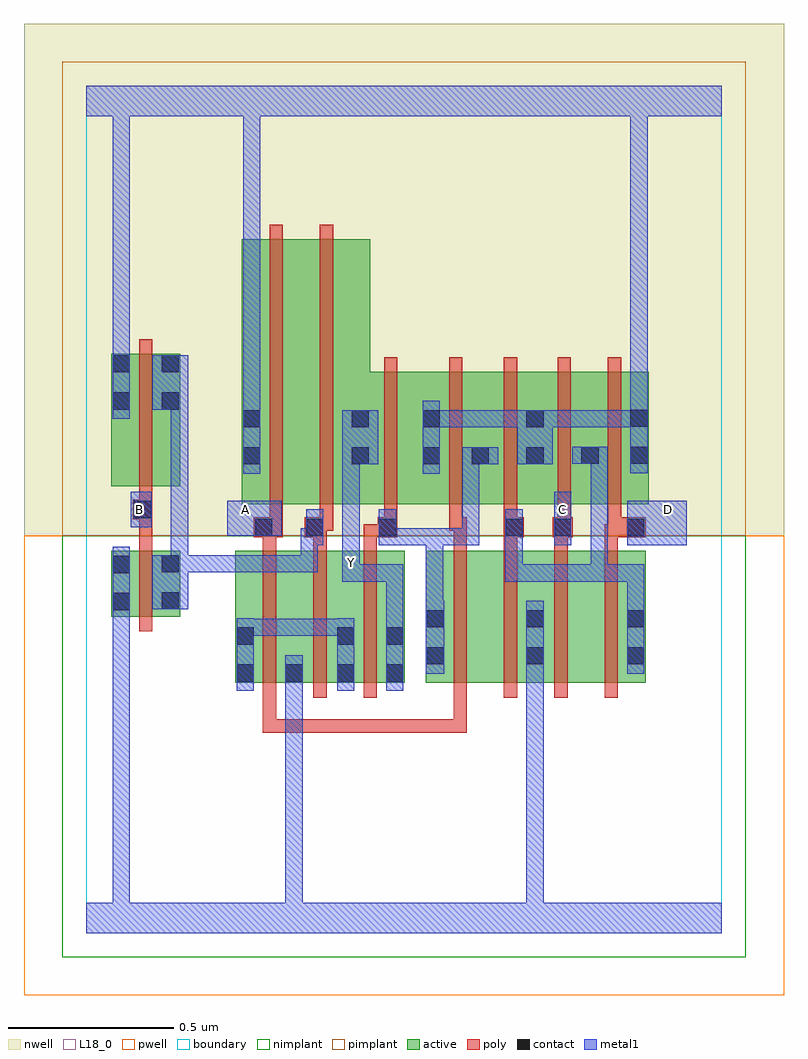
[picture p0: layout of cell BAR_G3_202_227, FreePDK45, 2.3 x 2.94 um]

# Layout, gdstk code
import gdstk
lib = gdstk.Library(unit=1e-6, precision=1e-09)
def R(c, l, rs):  # rectangles x0, y0, x1, y1
    for r in rs: c.add(gdstk.rectangle(r[:2], r[2:], *l))
def A(c, l, x, y, w, h, nx, ny, dx, dy):  # array of equal rectangles
    R(c, l, [(x+i*dx, y+j*dy, x+i*dx+w, y+j*dy+h) for i in range(nx) for j in range(ny)])
active = (1, 0)
pwell = (2, 0)
nwell = (3, 0)
nimplant = (4, 0)
pimplant = (5, 0)
poly = (9, 0)
contact = (10, 0)
metal1 = (11, 0)
L18_0 = (18, 0)
boundary = (235, 0)

bar_g3_202_227 = lib.new_cell('BAR_G3_202_227')
R(bar_g3_202_227, active, [(0.45,0.756,0.51,1.156), (0.45,0.756,0.658,1.156), (0.598,0.756,0.814,1.156), (0.598,0.756,0.658,0.828), (0.754,0.756,0.814,1.156), (0.754,0.756,0.962,1.156), (0.902,0.756,0.962,1.156), (1.026,0.756,1.086,1.156), (1.026,0.756,1.206,1.156), (1.206,0.756,1.386,1.156), (1.326,0.756,1.51,1.156), (1.326,0.756,1.386,0.98), (1.51,0.756,1.69,1.156), (1.63,0.756,1.69,1.156), (0.076,0.956,0.136,1.156), (0.076,0.956,0.284,1.156), (0.224,0.956,0.284,1.156), (0.47,1.296,0.65,2.096), (0.47,1.296,0.53,2.044), (0.65,1.296,0.858,2.096), (0.798,1.296,1.072,1.696), (0.798,1.296,0.858,2.096), (1.012,1.296,1.22,1.696), (1.16,1.296,1.386,1.696), (1.326,1.296,1.552,1.696), (1.492,1.296,1.552,1.696), (1.492,1.296,1.7,1.696), (1.64,1.296,1.7,1.644), (0.076,1.35,0.136,1.75), (0.076,1.35,0.284,1.75), (0.224,1.35,0.284,1.75), (1.012,1.412,1.072,1.644), (1.16,1.412,1.22,1.644), (1.326,1.412,1.386,1.644)])
R(bar_g3_202_227, pwell, [(-0.188,-0.188,2.108,1.2)])
R(bar_g3_202_227, nwell, [(-0.188,1.2,2.108,2.748)])
R(bar_g3_202_227, nimplant, [(-0.072,-0.072,1.992,1.2)])
R(bar_g3_202_227, pimplant, [(-0.072,1.2,1.992,2.632)])
A(bar_g3_202_227, poly, 0.534, 0.712, 0.04, 0.488, 3, 1, 0.152, 0)
A(bar_g3_202_227, poly, 1.11, 0.712, 0.04, 0.488, 4, 1, 0.152, 0)
A(bar_g3_202_227, poly, 0.534, 1.16, 0.04, 0.076, 3, 1, 0.152, 0)
A(bar_g3_202_227, poly, 1.262, 1.16, 0.04, 0.076, 3, 1, 0.152, 0)
R(bar_g3_202_227, poly, [(0.534,0.606,0.574,0.646), (0.534,0.606,0.574,0.646), (0.534,0.606,0.574,0.646), (0.534,0.606,0.574,0.752), (0.534,0.606,0.7,0.646), (0.66,0.606,0.7,0.646), (0.66,0.606,0.7,0.646), (0.66,0.606,0.7,0.646), (0.66,0.606,1.03,0.646), (0.99,0.606,1.03,0.646), (0.99,0.606,1.03,0.646), (0.99,0.606,1.03,0.646), (0.99,0.606,1.15,0.646), (1.11,0.606,1.15,0.646), (1.11,0.606,1.15,0.646), (1.11,0.606,1.15,0.646), (1.11,0.606,1.15,0.752), (0.16,0.912,0.2,1.2), (0.16,1.16,0.2,1.29), (1.11,1.16,1.15,1.256), (0.506,1.196,0.594,1.256), (0.534,1.196,0.574,1.236), (0.534,1.196,0.574,1.236), (0.66,1.196,0.726,1.256), (0.838,1.196,0.92,1.236), (0.88,1.196,0.92,1.236), (0.88,1.196,0.94,1.256), (1.262,1.196,1.322,1.256), (1.41,1.196,1.47,1.256), (1.414,1.196,1.454,1.236), (1.414,1.196,1.454,1.236), (1.566,1.196,1.616,1.236), (1.576,1.196,1.616,1.236), (1.576,1.196,1.69,1.256), (0.554,1.216,0.594,1.292), (0.686,1.216,0.726,1.256), (0.686,1.216,0.746,1.256), (0.706,1.216,0.746,1.292), (0.9,1.216,0.94,1.292), (1.096,1.216,1.136,1.292), (1.096,1.216,1.15,1.256), (1.11,1.216,1.15,1.256), (1.11,1.216,1.15,1.256), (1.262,1.216,1.302,1.292), (1.262,1.216,1.302,1.256), (1.262,1.216,1.302,1.256), (1.424,1.216,1.464,1.292), (1.576,1.216,1.616,1.292), (0.14,1.25,0.2,1.31), (0.554,1.252,0.594,2.14), (0.706,1.252,0.746,2.14), (0.9,1.252,0.94,1.74), (1.096,1.252,1.136,1.74), (1.262,1.252,1.302,1.74), (1.424,1.252,1.464,1.74), (1.576,1.252,1.616,1.74), (0.16,1.27,0.2,1.346), (0.16,1.27,0.2,1.31), (0.16,1.27,0.2,1.31), (0.16,1.306,0.2,1.794)])
R(bar_g3_202_227, contact, [(0.454,0.76,0.506,0.812), (0.602,0.76,0.654,0.812), (0.758,0.76,0.81,0.812), (0.906,0.76,0.958,0.812), (1.03,0.812,1.082,0.864), (1.33,0.812,1.382,0.864), (1.634,0.812,1.686,0.864), (0.454,0.872,0.506,0.924), (0.758,0.872,0.81,0.924), (0.906,0.872,0.958,0.924), (1.03,0.924,1.082,0.976), (1.33,0.924,1.382,0.976), (1.634,0.924,1.686,0.976), (0.08,0.976,0.132,1.028), (0.228,0.978,0.28,1.03), (0.08,1.088,0.132,1.14), (0.228,1.09,0.28,1.142), (0.51,1.2,0.562,1.252), (0.664,1.2,0.716,1.252), (0.884,1.2,0.936,1.252), (1.266,1.2,1.318,1.252), (1.414,1.2,1.466,1.252), (1.634,1.2,1.686,1.252), (0.144,1.254,0.196,1.306), (0.474,1.416,0.526,1.468), (0.802,1.416,0.854,1.468), (1.016,1.416,1.068,1.468), (1.164,1.416,1.216,1.468), (1.33,1.416,1.382,1.468), (1.496,1.418,1.548,1.47), (1.644,1.418,1.696,1.47), (0.474,1.528,0.526,1.58), (0.802,1.528,0.854,1.58), (1.016,1.528,1.068,1.58), (1.33,1.528,1.382,1.58), (1.644,1.53,1.696,1.582), (0.08,1.582,0.132,1.634), (0.228,1.582,0.28,1.634), (0.08,1.694,0.132,1.746), (0.228,1.694,0.28,1.746)])
R(bar_g3_202_227, metal1, [(0,0,1.92,0.092), (0.08,0.04,0.132,0.092), (0.08,0.04,0.132,0.092), (0.08,0.04,0.132,1), (0.602,0.04,0.654,0.092), (0.602,0.04,0.654,0.092), (0.602,0.04,0.654,0.092), (0.602,0.04,0.654,0.092), (0.602,0.04,0.654,0.092), (0.602,0.04,0.654,0.092), (0.602,0.04,0.654,0.784), (1.33,0.04,1.382,0.092), (1.33,0.04,1.382,0.092), (1.33,0.04,1.382,0.092), (1.33,0.04,1.382,0.092), (1.33,0.04,1.382,0.092), (1.33,0.04,1.382,0.092), (1.33,0.04,1.382,0.836), (0.454,0.732,0.506,0.952), (0.602,0.732,0.654,0.784), (0.602,0.732,0.654,0.784), (0.602,0.732,0.654,0.784), (0.602,0.732,0.654,0.784), (0.602,0.732,0.654,0.784), (0.602,0.732,0.654,0.784), (0.602,0.732,0.654,0.84), (0.758,0.732,0.81,0.952), (0.906,0.732,0.958,0.952), (1.026,0.784,1.082,1.004), (1.33,0.784,1.382,0.836), (1.33,0.784,1.382,0.836), (1.33,0.784,1.382,0.836), (1.33,0.784,1.382,0.836), (1.33,0.784,1.382,0.836), (1.33,0.784,1.382,0.836), (1.33,0.784,1.382,1.004), (1.634,0.784,1.686,1.004), (0.454,0.898,0.506,0.95), (0.454,0.898,0.506,0.95), (0.454,0.898,0.7,0.95), (0.648,0.898,0.7,0.95), (0.648,0.898,0.81,0.95), (0.758,0.898,0.81,0.95), (0.758,0.898,0.81,0.95), (0.906,0.9,0.958,1.114), (0.08,0.948,0.132,1), (0.08,0.948,0.132,1), (0.08,0.948,0.132,1), (0.08,0.948,0.132,1), (0.08,0.948,0.132,1), (0.08,0.948,0.132,1), (0.08,0.948,0.132,1), (0.08,0.948,0.132,1), (0.08,0.948,0.132,1), (0.08,0.948,0.132,1), (0.08,0.948,0.132,1), (0.08,0.948,0.132,1), (0.08,0.948,0.132,1), (0.08,0.948,0.132,1), (0.08,0.948,0.132,1.168), (1.026,0.952,1.078,1.224), (1.634,0.952,1.686,1.114), (0.2,0.978,0.308,1.142), (0.774,1.062,0.958,1.114), (0.774,1.062,0.826,1.174), (0.906,1.062,0.958,1.114), (0.906,1.062,0.958,1.114), (0.906,1.062,0.958,1.114), (1.266,1.062,1.318,1.224), (1.266,1.062,1.576,1.114), (1.524,1.062,1.576,1.114), (1.524,1.062,1.576,1.114), (1.524,1.062,1.576,1.114), (1.524,1.062,1.576,1.114), (1.524,1.062,1.576,1.114), (1.524,1.062,1.686,1.114), (1.524,1.062,1.576,1.47), (1.634,1.062,1.686,1.114), (1.634,1.062,1.686,1.114), (1.634,1.062,1.686,1.114), (0.256,1.09,0.308,1.142), (0.256,1.09,0.308,1.142), (0.256,1.09,0.308,1.142), (0.256,1.09,0.308,1.142), (0.256,1.09,0.308,1.142), (0.256,1.09,0.308,1.142), (0.256,1.09,0.418,1.142), (0.256,1.09,0.308,1.634), (0.366,1.09,0.418,1.142), (0.366,1.09,0.7,1.142), (0.648,1.09,0.7,1.224), (0.774,1.122,0.826,1.174), (0.774,1.122,0.826,1.174), (0.774,1.122,0.826,1.468), (0.648,1.172,0.716,1.224), (0.664,1.172,0.716,1.28), (0.884,1.172,0.936,1.224), (0.884,1.172,0.936,1.224), (0.884,1.172,0.936,1.28), (0.884,1.172,1.078,1.224), (1.026,1.172,1.078,1.224), (1.026,1.172,1.078,1.224), (1.026,1.172,1.078,1.224), (1.026,1.172,1.078,1.224), (1.026,1.172,1.078,1.224), (1.026,1.172,1.188,1.224), (1.136,1.172,1.188,1.224), (1.136,1.172,1.188,1.468), (1.266,1.172,1.318,1.224), (1.266,1.172,1.318,1.28), (1.414,1.172,1.466,1.334), (1.634,1.172,1.814,1.306), (0.426,1.2,0.59,1.306), (0.134,1.226,0.198,1.334), (0.474,1.388,0.526,1.608), (1.016,1.388,1.068,1.608), (1.644,1.39,1.696,1.61), (0.774,1.416,0.882,1.58), (1.136,1.416,1.244,1.468), (1.302,1.416,1.41,1.58), (1.468,1.418,1.576,1.47), (1.016,1.528,1.068,1.58), (1.016,1.528,1.068,1.58), (1.016,1.528,1.208,1.58), (1.156,1.528,1.208,1.58), (1.156,1.528,1.208,1.58), (1.156,1.528,1.208,1.58), (1.156,1.528,1.354,1.58), (1.358,1.528,1.52,1.58), (1.468,1.528,1.52,1.58), (1.468,1.528,1.52,1.58), (1.468,1.528,1.52,1.58), (1.468,1.528,1.696,1.58), (1.644,1.528,1.696,1.58), (1.644,1.528,1.696,1.58), (0.08,1.554,0.132,1.774), (0.474,1.556,0.526,1.608), (0.474,1.556,0.526,1.608), (0.474,1.556,0.526,1.608), (0.474,1.556,0.526,1.608), (0.474,1.556,0.526,2.52), (1.644,1.558,1.696,2.52), (0.2,1.582,0.308,1.746), (0.08,1.722,0.132,1.774), (0.08,1.722,0.132,1.774), (0.08,1.722,0.132,1.774), (0.08,1.722,0.132,1.774), (0.08,1.722,0.132,1.774), (0.08,1.722,0.132,1.774), (0.08,1.722,0.132,1.774), (0.08,1.722,0.132,1.774), (0.08,1.722,0.132,1.774), (0.08,1.722,0.132,1.774), (0.08,1.722,0.132,1.774), (0.08,1.722,0.132,1.774), (0.08,1.722,0.132,1.774), (0.08,1.722,0.132,1.774), (0.08,1.722,0.132,1.774), (0.08,1.722,0.132,1.774), (0.08,1.722,0.132,2.52), (0,2.468,1.92,2.56), (0.474,2.468,0.526,2.52), (0.474,2.468,0.526,2.52), (0.474,2.468,0.526,2.52), (0.474,2.468,0.526,2.52), (1.644,2.468,1.696,2.52), (1.644,2.468,1.696,2.52), (1.644,2.468,1.696,2.52), (1.644,2.468,1.696,2.52), (1.644,2.468,1.696,2.52), (1.644,2.468,1.696,2.52), (1.644,2.468,1.696,2.52), (1.644,2.468,1.696,2.52), (1.644,2.468,1.696,2.52), (1.644,2.468,1.696,2.52), (1.644,2.468,1.696,2.52), (1.644,2.468,1.696,2.52), (1.644,2.468,1.696,2.52), (1.644,2.468,1.696,2.52), (1.644,2.468,1.696,2.52), (1.644,2.468,1.696,2.52)])
R(bar_g3_202_227, L18_0, [(0,0,1.92,0.092), (0.08,0.04,0.132,0.092), (0.08,0.04,0.132,0.092), (0.08,0.04,0.132,1), (0.602,0.04,0.654,0.092), (0.602,0.04,0.654,0.092), (0.602,0.04,0.654,0.092), (0.602,0.04,0.654,0.092), (0.602,0.04,0.654,0.092), (0.602,0.04,0.654,0.092), (0.602,0.04,0.654,0.784), (1.33,0.04,1.382,0.092), (1.33,0.04,1.382,0.092), (1.33,0.04,1.382,0.092), (1.33,0.04,1.382,0.092), (1.33,0.04,1.382,0.092), (1.33,0.04,1.382,0.092), (1.33,0.04,1.382,0.836), (0.602,0.732,0.654,0.784), (0.602,0.732,0.654,0.784), (0.602,0.732,0.654,0.784), (0.602,0.732,0.654,0.784), (0.602,0.732,0.654,0.784), (0.602,0.732,0.654,0.784), (0.602,0.732,0.654,0.84), (0.906,0.732,0.958,0.952), (1.33,0.784,1.382,0.836), (1.33,0.784,1.382,0.836), (1.33,0.784,1.382,0.836), (1.33,0.784,1.382,0.836), (1.33,0.784,1.382,0.836), (1.33,0.784,1.382,0.836), (1.33,0.784,1.382,1.004), (0.906,0.9,0.958,1.114), (0.08,0.948,0.132,1), (0.08,0.948,0.132,1), (0.08,0.948,0.132,1), (0.08,0.948,0.132,1), (0.08,0.948,0.132,1), (0.08,0.948,0.132,1), (0.08,0.948,0.132,1), (0.08,0.948,0.132,1), (0.08,0.948,0.132,1), (0.08,0.948,0.132,1), (0.08,0.948,0.132,1), (0.08,0.948,0.132,1), (0.08,0.948,0.132,1), (0.08,0.948,0.132,1), (0.08,0.948,0.132,1.168), (0.774,1.062,0.826,1.174), (0.774,1.062,0.958,1.114), (0.906,1.062,0.958,1.114), (0.906,1.062,0.958,1.114), (0.906,1.062,0.958,1.114), (0.774,1.094,0.826,1.146), (0.774,1.122,0.826,1.174), (0.774,1.122,0.826,1.174), (0.774,1.122,0.826,1.468), (1.414,1.172,1.466,1.334), (1.634,1.172,1.814,1.306), (0.426,1.2,0.59,1.306), (0.134,1.226,0.198,1.334), (0.134,1.254,0.186,1.306), (0.454,1.254,0.506,1.306), (1.414,1.254,1.466,1.306), (1.734,1.254,1.786,1.306), (0.474,1.388,0.526,1.608), (1.016,1.388,1.068,1.608), (1.644,1.39,1.696,1.61), (0.774,1.416,0.882,1.58), (1.302,1.416,1.41,1.58), (1.016,1.528,1.068,1.58), (1.016,1.528,1.068,1.58), (1.016,1.528,1.208,1.58), (1.156,1.528,1.208,1.58), (1.156,1.528,1.208,1.58), (1.156,1.528,1.208,1.58), (1.156,1.528,1.354,1.58), (1.358,1.528,1.52,1.58), (1.468,1.528,1.52,1.58), (1.468,1.528,1.52,1.58), (1.468,1.528,1.52,1.58), (1.468,1.528,1.696,1.58), (1.644,1.528,1.696,1.58), (1.644,1.528,1.696,1.58), (0.08,1.554,0.132,1.774), (0.474,1.556,0.526,1.608), (0.474,1.556,0.526,1.608), (0.474,1.556,0.526,1.608), (0.474,1.556,0.526,1.608), (0.474,1.556,0.526,2.52), (1.644,1.558,1.696,2.52), (0.08,1.722,0.132,1.774), (0.08,1.722,0.132,1.774), (0.08,1.722,0.132,1.774), (0.08,1.722,0.132,1.774), (0.08,1.722,0.132,1.774), (0.08,1.722,0.132,1.774), (0.08,1.722,0.132,1.774), (0.08,1.722,0.132,1.774), (0.08,1.722,0.132,1.774), (0.08,1.722,0.132,1.774), (0.08,1.722,0.132,1.774), (0.08,1.722,0.132,1.774), (0.08,1.722,0.132,1.774), (0.08,1.722,0.132,1.774), (0.08,1.722,0.132,1.774), (0.08,1.722,0.132,1.774), (0.08,1.722,0.132,2.52), (0,2.468,1.92,2.56), (0.474,2.468,0.526,2.52), (0.474,2.468,0.526,2.52), (0.474,2.468,0.526,2.52), (0.474,2.468,0.526,2.52), (1.644,2.468,1.696,2.52), (1.644,2.468,1.696,2.52), (1.644,2.468,1.696,2.52), (1.644,2.468,1.696,2.52), (1.644,2.468,1.696,2.52), (1.644,2.468,1.696,2.52), (1.644,2.468,1.696,2.52), (1.644,2.468,1.696,2.52), (1.644,2.468,1.696,2.52), (1.644,2.468,1.696,2.52), (1.644,2.468,1.696,2.52), (1.644,2.468,1.696,2.52), (1.644,2.468,1.696,2.52), (1.644,2.468,1.696,2.52), (1.644,2.468,1.696,2.52), (1.644,2.468,1.696,2.52)])
R(bar_g3_202_227, boundary, [(0,0,1.92,2.56)])
bar_g3_202_227.add(gdstk.Label('A', (0.48,1.28), layer=11, texttype=0))
bar_g3_202_227.add(gdstk.Label('B', (0.16,1.28), layer=11, texttype=0))
bar_g3_202_227.add(gdstk.Label('C', (1.44,1.28), layer=11, texttype=0))
bar_g3_202_227.add(gdstk.Label('D', (1.76,1.28), layer=11, texttype=0))
bar_g3_202_227.add(gdstk.Label('Y', (0.8,1.12), layer=11, texttype=0))

lib.write_gds('BAR_G3_202_227.gds')
